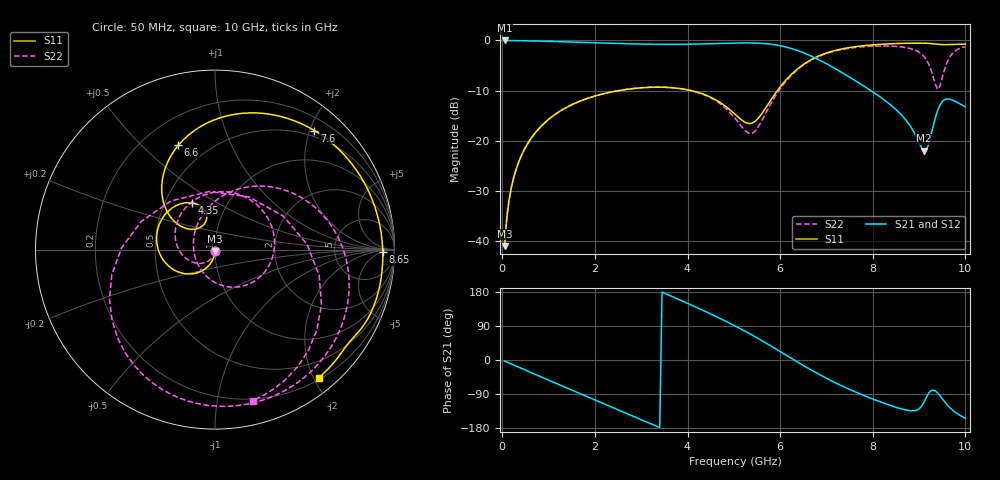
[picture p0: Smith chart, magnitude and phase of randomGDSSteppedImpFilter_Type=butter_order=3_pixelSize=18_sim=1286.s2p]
! freq	dB(S11)	phase(S11)	dB(S12)	phase(S12)
!  dB(S21)	phase(S21)	dB(S22)	phase(S22)
!S-par simulation data
#  GHz  S  DB  R 50
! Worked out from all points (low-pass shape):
!   200 points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, 50 MHz to 10 GHz, reference 50 ohm
!   highest |S21| = 0.00 dB at 50 MHz (marker M1); lowest = -22.0 dB at 9.1 GHz (marker M2)
!   |S21| within 3 dB of the highest: start of sweep to 6.642 GHz
!   lowest |S11| = -41.0 dB at 50 MHz (marker M3), VSWR 1.02, Z = 50 - j0.888 ohm
!   |S11| at or under -10 dB: start of sweep to 2.524 GHz; 4.074 GHz to 5.941 GHz (1.866 GHz wide, 37.3 % of centre)
!   |S22| runs from -41.1 to -1.1 dB; largest |S21 - S12| = 0
!   S11 on the Smith chart (normalised r, x): 50 MHz: 1.00, -0.02; 4.35 GHz: 0.68, +0.39; 6.6 GHz: 0.35, +0.65; 7.6 GHz: 0.40, +2.08; 8.65 GHz: 29, -5; 10 GHz: 0.23, -2.08
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0.05  -41.03 -91.0  -0.00 -2.7  -0.00 -2.7  -41.05 -92.7
0.2  -29.14 -97.5  -0.02 -10.7  -0.02 -10.7  -29.16 -104.0
0.5  -21.35 -109.1  -0.07 -26.7  -0.07 -26.7  -21.37 -125.4
1.15  -14.69 -132.9  -0.22 -61.0  -0.22 -61.0  -14.70 -170.8
1.75  -11.86 -153.8  -0.40 -92.4  -0.40 -92.4  -11.85 147.4
2.65  -9.82 175.8  -0.65 -139.1  -0.65 -139.1  -9.79 84.6
3.4  -9.34 149.9  -0.78 -178.3  -0.78 -178.3  -9.30 32.8
4.35  -10.75 116.2  -0.70 130.2  -0.70 130.2  -10.81 -34.4
5.05  -14.94 105.1  -0.51 88.4  -0.51 88.4  -15.81 -103.3
5.4  -16.48 127.3  -0.50 65.4  -0.50 65.4  -18.50 -178.7
5.9  -10.52 144.2  -0.89 29.8  -0.89 29.8  -11.04 87.2
6.6  -4.21 109.4  -2.83 -21.4  -2.83 -21.4  -4.31 22.2
6.7  -3.69 103.2  -3.25 -28.4  -3.25 -28.4  -3.79 14.7
7.6  -1.27 50.1  -7.89 -83.0  -7.89 -83.0  -1.43 -41.9
8.35  -0.68 12.7  -12.60 -118.6  -12.60 -118.6  -1.13 -81.4
8.65  -0.58 -0.7  -15.17 -130.0  -15.17 -130.0  -1.33 -99.4
9.1  -0.55 -19.9  -21.99 -112.9  -21.99 -112.9  -3.14 -145.4
9.25  -0.62 -26.1  -19.17 -81.2  -19.17 -81.2  -5.67 178.8
9.4  -0.76 -31.7  -14.02 -86.8  -14.02 -86.8  -9.75 95.8
9.6  -0.84 -37.8  -11.68 -117.3  -11.68 -117.3  -4.46 -14.0
9.8  -0.78 -44.3  -12.25 -139.6  -12.25 -139.6  -1.97 -54.5
10  -0.74 -51.0  -13.25 -153.6  -13.25 -153.6  -1.24 -75.9
